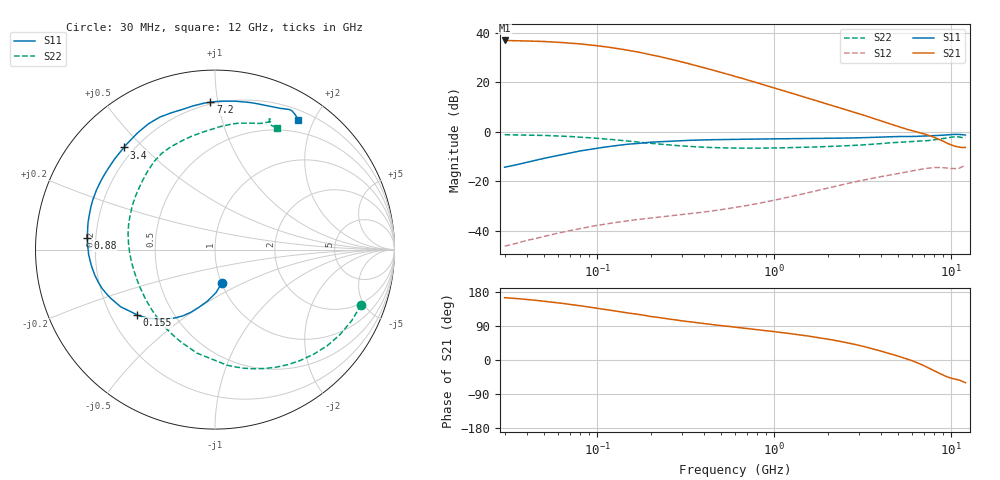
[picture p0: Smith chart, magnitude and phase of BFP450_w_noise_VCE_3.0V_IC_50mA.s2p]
! Infineon Technologies  Discrete & RF Semiconductors
! BFP450
! VCE =  3.0 V,  IC =  50 mA
! Common Emitter S-Parameters:  Nov 2015
# GHz  S  MA  R  50
!  f  S11  S21  S12  S22
! GHz  MAG  ANG  MAG  ANG  MAG  ANG  MAG  ANG
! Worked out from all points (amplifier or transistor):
!   239 points, 30 MHz to 12 GHz, reference 50 ohm
!   highest |S21| = 36.8 dB at 30 MHz (marker M1)
!   |S21| within 3 dB of that: start of sweep to 123.2 MHz
!   unconditionally stable (mu >= 1): 1.185 GHz to end of sweep
!   at 300 MHz: K = 0.54, MSG = 30.8 dB, |S12| = -33.4 dB
!   at 1.88 GHz: K = 1.08, MAG = 15.7 dB, |S12| = -23.2 dB
!   at 12 GHz: K = 1.09, MAG = 1.8 dB, |S12| = -13.6 dB
!   lowest NFmin = 1.55 dB at 450 MHz
!   S11 on the Smith chart (normalised r, x): 30 MHz: 1.00, -0.39; 155 MHz: 0.31, -0.33; 880 MHz: 0.17, +0.04; 3.4 GHz: 0.16, +0.44; 7.2 GHz: 0.19, +0.95; 12 GHz: 0.32, +1.78
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0.03  0.1922 -79.0  69.55 164.5  0.0049 76.4  0.8706 -20.7
0.04  0.2404 -88.8  68.03 159.8  0.0064 73.0  0.8584 -27.5
0.05  0.2899 -98.3  66.27 155.1  0.0077 70.3  0.8424 -34.2
0.06  0.3317 -105.3  63.98 151.0  0.009 67.0  0.8232 -40.6
0.07  0.3722 -110.8  61.59 146.7  0.0101 65.2  0.8015 -46.6
0.085  0.4235 -117.9  57.99 141.5  0.0116 60.9  0.7683 -55.0
0.11  0.4892 -127.6  52.17 133.6  0.0136 56.4  0.717 -67.5
0.13  0.5295 -133.5  47.82 128.3  0.0149 53.9  0.6803 -76.3
0.155  0.5657 -140.0  43.09 123.0  0.0163 51.4  0.6396 -85.4
0.2  0.6147 -148.8  35.84 114.8  0.0181 48.3  0.5857 -99.8
0.24  0.6375 -154.2  31.18 109.9  0.0195 47.3  0.5509 -109.3
0.3  0.6639 -160.6  25.61 103.4  0.0213 46.7  0.5176 -121.5
0.36  0.6775 -165.3  21.71 98.9  0.0229 47.1  0.4967 -130.5
0.45  0.6906 -170.7  17.48 93.2  0.0253 48.3  0.4793 -141.0
0.6  0.7035 -177.1  13.08 86.5  0.0295 50.3  0.468 -153.1
0.88  0.7143 174.8  8.781 77.9  0.0379 52.7  0.4676 -167.2
1.2  0.7235 167.7  6.27 70.2  0.0478 53.1  0.4762 -178.2
1.64  0.7328 159.5  4.476 61.6  0.0616 51.3  0.4905 170.8
3.4  0.7624 131.7  2.007 32.4  0.1111 34.1  0.5517 138.4
4.5  0.7929 117.9  1.439 16.6  0.1337 23.0  0.5969 124.5
7.2  0.8212 91.8  0.877 -17.8  0.1815 -4.4  0.6576 96.2
12  0.8592 57.4  0.482 -59.7  0.2092 -40.7  0.7612 63.1
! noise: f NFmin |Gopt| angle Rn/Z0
0.45  1.55  0.54  -173  0.06
0.9  1.61  0.56  -168  0.07
1.9  1.71  0.6  -153  0.1
2.4  1.81  0.6  -144  0.14
